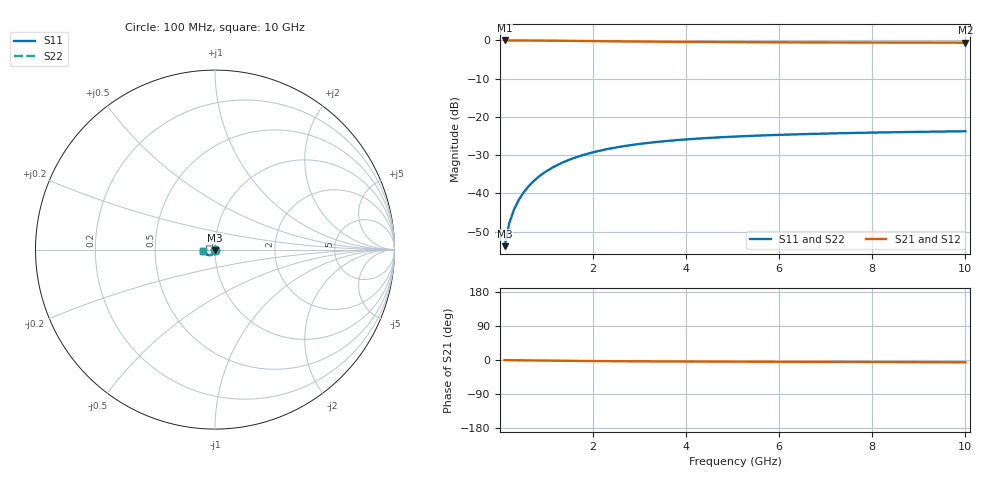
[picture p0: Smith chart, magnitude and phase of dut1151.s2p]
! Touchstone file exported from HFSS 2024.1.0
!  File:  C:/UserFiles/LocalFiles/RDL_TSV_Batchsim/temp_TSV1_1151_1780071898.aedt
!  Generated:  12:30:02 AM May 30, 2026
!  Design:  TSV1
!  Project:  temp_TSV1_1151_1780071898
!  Setup:  Setup1
!  Solution:  Sweep
! Variables:
!  dtsv = 14.03um
!  hbump = 3um
!  htsv = 94.55um
!  lrdl = 252.1521522um
!  p = 40
!  p1 = 57.47um
!  t = 500um
!  trdl = 3um
!  wrdl = 24.89489489um
# GHz S MA R 50.000000
! Terminal data exported
! Port[1] = TSV22_T1
! Port[2] = TSV22_T2
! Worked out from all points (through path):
!   100 points, 100 MHz to 10 GHz, reference 50 ohm
!   highest |S21| = 0.00 dB at 100 MHz (marker M1); lowest = -0.6 dB at 10 GHz (marker M2)
!   lowest |S11| = -53.8 dB at 100 MHz (marker M3), VSWR 1.00, Z = 50 - j0.204 ohm
!   |S11| at or under -10 dB: start of sweep to end of sweep
!   |S22| runs from -53.8 to -23.8 dB; largest |S21 - S12| = 6.3e-15
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0.1  0.002038 -89.4  0.9998 -0.2  0.9998 -0.2  0.002038 -89.4
! Gamma 0 0 0 0
! Port Impedance 50 0 50 0
0.2  0.004073 -92.5  0.9996 -0.3  0.9996 -0.3  0.004073 -92.5
0.3  0.006104 -94.8  0.9992 -0.5  0.9992 -0.5  0.006104 -94.8
0.4  0.00812 -96.9  0.9988 -0.7  0.9988 -0.7  0.00812 -96.9
0.5  0.01011 -99.0  0.9981 -0.9  0.9981 -0.9  0.01011 -99.0
0.6  0.01208 -101.0  0.9974 -1.0  0.9974 -1.0  0.01208 -101.0
0.7  0.014 -102.9  0.9966 -1.2  0.9966 -1.2  0.014 -102.9
0.8  0.01589 -104.9  0.9957 -1.3  0.9957 -1.3  0.01589 -104.9
0.9  0.01773 -106.7  0.9947 -1.5  0.9947 -1.5  0.01773 -106.7
1.1  0.02126 -110.4  0.9924 -1.8  0.9924 -1.8  0.02126 -110.4
1.4  0.02615 -115.5  0.9887 -2.1  0.9887 -2.1  0.02615 -115.5
1.6  0.02913 -118.7  0.986 -2.4  0.986 -2.4  0.02913 -118.7
1.8  0.03188 -121.7  0.9833 -2.6  0.9833 -2.6  0.03188 -121.7
2.1  0.03561 -125.9  0.9793 -2.8  0.9793 -2.8  0.03561 -125.9
2.5  0.0399 -131.0  0.9741 -3.2  0.9741 -3.2  0.0399 -131.0
2.9  0.04349 -135.5  0.9693 -3.4  0.9693 -3.4  0.04349 -135.5
3.4  0.0472 -140.5  0.964 -3.7  0.964 -3.7  0.0472 -140.5
4.2  0.05176 -147.1  0.957 -4.0  0.957 -4.0  0.05176 -147.1
5.1  0.05548 -153.2  0.9508 -4.4  0.9508 -4.4  0.05548 -153.2
6.7  0.05992 -161.6  0.9432 -4.9  0.9432 -4.9  0.05992 -161.6
8.4  0.06293 -168.6  0.9379 -5.5  0.9379 -5.5  0.06293 -168.6
10  0.0649 -173.9  0.9346 -6.1  0.9346 -6.1  0.0649 -173.9
